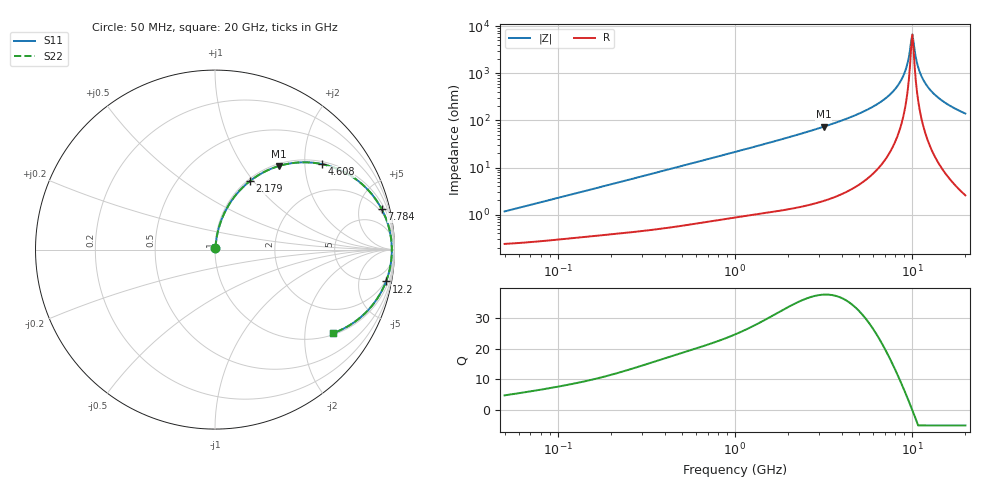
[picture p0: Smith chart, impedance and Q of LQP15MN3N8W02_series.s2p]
!Murata Part Number: LQP15MN3N8W02
!These Parameters are Measured in Series Mode Connection
!  o--[Z]--o
!Port1  Port2
!  o-------o
!Freq. Start=50[MHz] Stop=20[GHz], 401[Steps]
# Hz S RI R 50
!Freq.(Hz) S11(Real) S11(Imag) S21(Real) S21(Imag) S12(Real) S12(Imag) S22(Real) S22(Imag)
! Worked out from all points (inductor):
!   401 points, 50 MHz to 20 GHz, reference 50 ohm
!   read as one part in series: L = 3.63 nH near 51.52 MHz
!   highest Q = 37.5 at 3.169 GHz (marker M1), where L = 3.69 nH
!   self-resonance near 9.892 GHz
!   S11 on the Smith chart (normalised r, x): 50 MHz: 1.00, +0.02; 2.179 GHz: 1.03, +0.96; 4.608 GHz: 1.07, +2.43; 7.784 GHz: 1.55, +8.12; 12.2 GHz: 2, -11; 20 GHz: 1.05, -2.80
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5e7  0.00252 0.0114  0.9975 -0.0114  0.9975 -0.0114  0.00252 0.0114
1.364002e8  0.00423 0.0302  0.9958 -0.0302  0.9958 -0.0302  0.00423 0.0302
3.721004e8  0.0113 0.0794  0.9887 -0.0794  0.9887 -0.0794  0.0113 0.0794
1e9  0.0513 0.2012  0.9487 -0.2012  0.9487 -0.2012  0.0513 0.2012
2.179053e9  0.1934 0.3808  0.8066 -0.3808  0.8066 -0.3808  0.1934 0.3808
2.728004e9  0.2801 0.4357  0.7199 -0.4357  0.7199 -0.4357  0.2801 0.4357
3.168813e9  0.3544 0.4652  0.6456 -0.4652  0.6456 -0.4652  0.3544 0.4652
4.608136e9  0.5945 0.4766  0.4055 -0.4766  0.4055 -0.4766  0.5945 0.4766
6.034176e9  0.7863 0.3913  0.2137 -0.3913  0.2137 -0.3913  0.7863 0.3913
7.442007e9  0.9095 0.2591  0.0905 -0.2591  0.0905 -0.2591  0.9095 0.2591
7.784049e9  0.9296 0.2241  0.0704 -0.2241  0.0704 -0.2241  0.9296 0.2241
8.516016e9  0.9613 0.1487  0.0387 -0.1487  0.0387 -0.1487  0.9613 0.1487
9.041845e9  0.9754 0.0954  0.0246 -0.0954  0.0246 -0.0954  0.9754 0.0954
9.457416e9  0.9819 0.0543  0.0181 -0.0543  0.0181 -0.0543  0.9819 0.0543
9.745021e9  0.9844 0.0266  0.0156 -0.0266  0.0156 -0.0266  0.9844 0.0266
1.004137e10  0.9853 -0.00122  0.0147 0.00122  0.0147 0.00122  0.9853 -0.00122
1.019291e10  0.9851 -0.0151  0.0149 0.0151  0.0149 0.0151  0.9851 -0.0151
1.066139e10  0.9822 -0.0568  0.0178 0.0568  0.0178 0.0568  0.9822 -0.0568
1.098561e10  0.9784 -0.0843  0.0216 0.0843  0.0216 0.0843  0.9784 -0.0843
1.220001e10  0.953 -0.1775  0.047 0.1775  0.047 0.1775  0.953 -0.1775
1.482269e10  0.8629 -0.3267  0.1371 0.3267  0.1371 0.3267  0.8629 -0.3267
2e10  0.659 -0.465  0.341 0.465  0.341 0.465  0.659 -0.465
